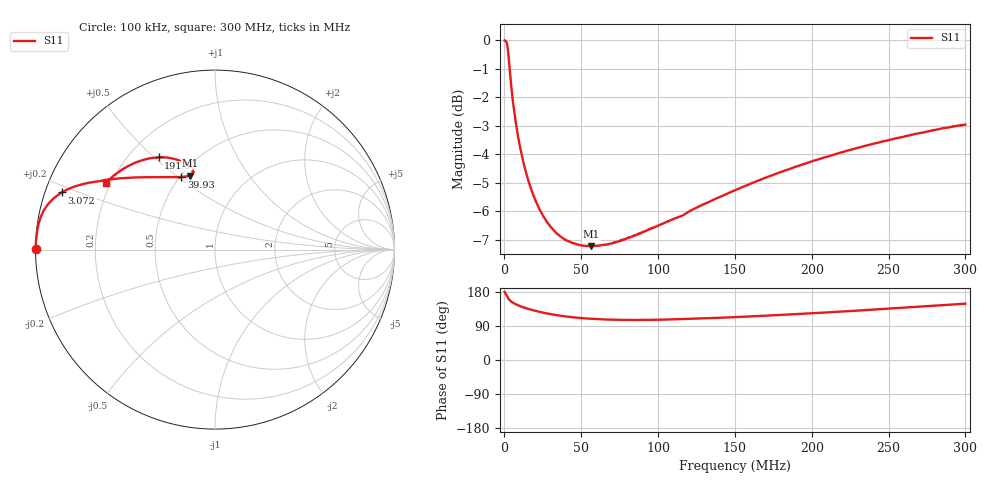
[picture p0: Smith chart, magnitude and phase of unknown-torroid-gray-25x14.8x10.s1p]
# HZ S RI R 50
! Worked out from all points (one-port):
!   1010 points, 100 kHz to 300 MHz, reference 50 ohm
!   lowest |S11| = -7.2 dB at 56.57 MHz (marker M1), VSWR 2.54, Z = 27.6 + j28.1 ohm
!   |S11| at or under -10 dB: nowhere
!   S11 on the Smith chart (normalised r, x): 100 kHz: 0.00, +0.00; 3.072 MHz: 0.05, +0.18; 39.93 MHz: 0.51, +0.51; 191.5 MHz: 0.32, +0.52; 300 MHz: 0.18, +0.27
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100000  -0.9992 0.003
694400  -0.9946 0.0756
1586100  -0.9705 0.1833
2477800  -0.9068 0.2781
3072200  -0.8536 0.3184
3666700  -0.8036 0.3434
4558300  -0.7395 0.364
5747200  -0.6729 0.3775
7233400  -0.6077 0.3889
8422300  -0.5653 0.3932
1.02056e7  -0.5117 0.3989
1.40695e7  -0.4253 0.4025
1.88251e7  -0.3508 0.4036
2.41752e7  -0.2908 0.4034
3.041692e7  -0.2401 0.4033
3.784752e7  -0.1976 0.4043
3.992812e7  -0.1878 0.4046
4.825042e7  -0.159 0.4078
5.657272e7  -0.1394 0.4124
7.529785e7  -0.1215 0.4277
9.015918e7  -0.1254 0.4439
1.127482e8  -0.147 0.4665
1.501986e8  -0.2146 0.5016
1.87649e8  -0.3039 0.5141
1.915129e8  -0.3147 0.5136
2.250993e8  -0.4057 0.4979
2.625496e8  -0.5101 0.4502
2.999999e8  -0.6074 0.3706
